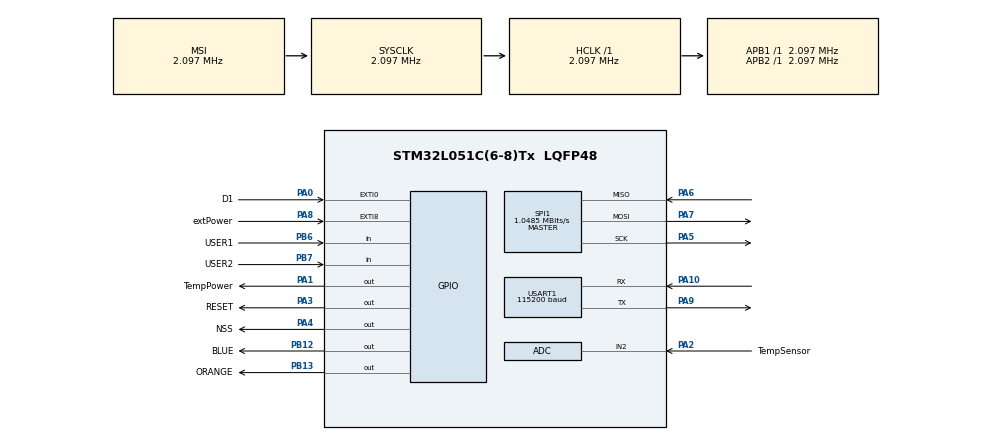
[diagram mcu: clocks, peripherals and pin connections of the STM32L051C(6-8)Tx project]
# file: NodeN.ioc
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ADC.SamplingTime=ADC_SAMPLETIME_160CYCLES_5
Dma.ADC.0.Direction=DMA_PERIPH_TO_MEMORY
Dma.ADC.0.Instance=DMA1_Channel1
Dma.ADC.0.MemDataAlignment=DMA_MDATAALIGN_HALFWORD
Dma.ADC.0.MemInc=DMA_MINC_ENABLE
Dma.ADC.0.Mode=DMA_NORMAL
Dma.ADC.0.PeriphDataAlignment=DMA_PDATAALIGN_HALFWORD
Dma.ADC.0.PeriphInc=DMA_PINC_DISABLE
Dma.ADC.0.Priority=DMA_PRIORITY_LOW
Dma.Request0=ADC
Dma.Request1=USART1_RX
Dma.USART1_RX.1.Direction=DMA_PERIPH_TO_MEMORY
Dma.USART1_RX.1.Instance=DMA1_Channel3
Dma.USART1_RX.1.MemDataAlignment=DMA_MDATAALIGN_BYTE
Dma.USART1_RX.1.MemInc=DMA_MINC_ENABLE
Dma.USART1_RX.1.Mode=DMA_CIRCULAR
Dma.USART1_RX.1.PeriphDataAlignment=DMA_PDATAALIGN_BYTE
Dma.USART1_RX.1.PeriphInc=DMA_PINC_DISABLE
Dma.USART1_RX.1.Priority=DMA_PRIORITY_LOW
LPTIM1.ClockPrescaler=LPTIM_PRESCALER_DIV128
Mcu.Family=STM32L0
Mcu.Name=STM32L051C(6-8)Tx
Mcu.Package=LQFP48
NVIC.DMA1_Channel1_IRQn=true\:0\:0\:false\:false\:true\:false\:true\:true
NVIC.DMA1_Channel2_3_IRQn=true\:0\:0\:false\:false\:true\:false\:true\:true
NVIC.EXTI0_1_IRQn=true\:1\:0\:true\:false\:true\:true\:true\:true
NVIC.EXTI4_15_IRQn=true\:1\:0\:true\:false\:true\:true\:true\:true
NVIC.LPTIM1_IRQn=true\:1\:0\:true\:false\:true\:true\:true\:true
NVIC.RTC_IRQn=true\:0\:0\:false\:false\:true\:true\:true\:true
PA0.GPIO_Label=D1
PA0.GPIO_ModeDefaultEXTI=GPIO_MODE_IT_RISING_FALLING
PA0.GPIO_PuPd=GPIO_PULLDOWN
PA0.Signal=GPXTI0
PA1.GPIO_Label=TempPower
PA1.Signal=GPIO_Output
PA10.Mode=Asynchronous
PA10.Signal=USART1_RX
PA13.Mode=Serial_Wire
PA13.Signal=SYS_SWDIO
PA14.Mode=Serial_Wire
PA14.Signal=SYS_SWCLK
PA2.GPIO_Label=TempSensor
PA2.Signal=SharedAnalog_PA2
PA3.GPIO_Label=RESET
PA3.GPIO_Speed=GPIO_SPEED_FREQ_HIGH
PA3.Signal=GPIO_Output
PA4.GPIO_Label=NSS
PA4.GPIO_Speed=GPIO_SPEED_FREQ_HIGH
PA4.Signal=GPIO_Output
PA5.Mode=Full_Duplex_Master
PA5.Signal=SPI1_SCK
PA6.Mode=Full_Duplex_Master
PA6.Signal=SPI1_MISO
PA7.Mode=Full_Duplex_Master
PA7.Signal=SPI1_MOSI
PA8.GPIO_Label=extPower
PA8.GPIO_ModeDefaultEXTI=GPIO_MODE_IT_RISING_FALLING
PA8.GPIO_PuPd=GPIO_PULLDOWN
PA8.Signal=GPXTI8
PA9.Mode=Asynchronous
PA9.Signal=USART1_TX
PB12.GPIO_Label=BLUE
PB12.PinState=GPIO_PIN_RESET
PB12.Signal=GPIO_Output
PB13.GPIO_Label=ORANGE
PB13.PinState=GPIO_PIN_RESET
PB13.Signal=GPIO_Output
PB6.GPIO_Label=USER1
PB6.GPIO_PuPd=GPIO_PULLUP
PB6.Signal=GPIO_Input
PB7.GPIO_Label=USER2
PB7.GPIO_PuPd=GPIO_PULLUP
PB7.Signal=GPIO_Input
PC14-OSC32_IN.Mode=LSE-External-Oscillator
PC14-OSC32_IN.Signal=RCC_OSC32_IN
PC15-OSC32_OUT.Mode=LSE-External-Oscillator
PC15-OSC32_OUT.Signal=RCC_OSC32_OUT
ProjectManager.HeapSize=0x200
ProjectManager.StackSize=0x400
ProjectManager.TargetToolchain=STM32CubeIDE
RCC.AHBFreq_Value=2097000
RCC.APB1Freq_Value=2097000
RCC.APB1TimFreq_Value=2097000
RCC.APB2Freq_Value=2097000
RCC.APB2TimFreq_Value=2097000
RCC.EnableCSSLSE=true
RCC.HCLKFreq_Value=2097000
RCC.HSE_VALUE=8000000
RCC.HSI16_VALUE=16000000
RCC.HSI_VALUE=16000000
RCC.LSE_Drive_Capability=RCC_LSEDRIVE_HIGH
RCC.LSE_Timout=5000
RCC.LptimClockSelection=RCC_LPTIM1CLKSOURCE_LSE
RCC.Lpuart1ClockSelection=RCC_LPUART1CLKSOURCE_LSE
RCC.MSI_VALUE=2097000
RCC.PWR_Regulator_Voltage_Scale=PWR_REGULATOR_VOLTAGE_SCALE1
RCC.RTCClockSelectionVirtual=RCC_RTCCLKSOURCE_LSE
RCC.SYSCLKFreq_VALUE=2097000
RCC.VCOOutputFreq_Value=48000000
RTC.WakeUpClock-WakeUp=RTC_WAKEUPCLOCK_CK_SPRE_16BITS
RTC.WakeUpCounter-WakeUp=60
SH.SharedAnalog_PA2.0=GPIO_Analog
SH.SharedAnalog_PA2.1=ADC_IN2,IN2
SPI1.CalculateBaudRate=1.0485 MBits/s
SPI1.Direction=SPI_DIRECTION_2LINES
SPI1.Mode=SPI_MODE_MASTER
SPI1.VirtualType=VM_MASTER
USART1.AutoBaudRateEnableParam=UART_ADVFEATURE_AUTOBAUDRATE_DISABLE
USART1.BaudRate=115200
USART1.OverSampling=UART_OVERSAMPLING_16
USART1.VirtualMode-Asynchronous=VM_ASYNC
VP_ADC_Vref_Input.Mode=IN-Vrefint
VP_LPTIM1_VS_LPTIM_counterModeInternalClock.Mode=Counts__internal_clock_event_00
VP_RTC_VS_RTC_Activate.Mode=RTC_Enabled
VP_RTC_VS_RTC_WakeUp_intern.Mode=WakeUp
VP_WWDG_VS_WWDG.Mode=WWDG_Activate
WWDG.Counter=127
WWDG.Prescaler=WWDG_PRESCALER_8
WWDG.Window=127
board=custom

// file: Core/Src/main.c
/* USER CODE BEGIN Header */
/**
 ******************************************************************************
 * @file           : main.c
 * @brief          : Main program body
 ******************************************************************************
 * @attention
 *
 * <h2><center>&copy; Copyright (c) 2019 STMicroelectronics.
 * All rights reserved.</center></h2>
 *
 * This software component is licensed by ST under BSD 3-Clause license,
 * the "License"; You may not use this file except in compliance with the
 * License. You may obtain a copy of the License at:
 *                        opensource.org/licenses/BSD-3-Clause
 *
 ******************************************************************************
 */
/* USER CODE END Header */
#include "main.h"

/* USER CODE BEGIN PTD */
#ifdef DEBUG
const char *statuses[] = { "UNINITIALISED", "SLEEP", "STANDBY", "TX", "RX" };
const char *deviceSquence[] = { "IDLE", "TX", "WFA", "DELAY" };
const char *bandWidthStrings[] = { "7.8 kHz", "10.4", "15.6", "20.8k", "31.25",
		"41.7", "62.5", "125", "250", "500" };

#endif

/* USER CODE END PTD */

ADC_HandleTypeDef hadc;
DMA_HandleTypeDef hdma_adc;

LPTIM_HandleTypeDef hlptim1;

RTC_HandleTypeDef hrtc;

SPI_HandleTypeDef hspi1;

UART_HandleTypeDef huart1;
DMA_HandleTypeDef hdma_usart1_rx;

WWDG_HandleTypeDef hwwdg;

/* USER CODE BEGIN PV */
flag_t flag = { 0, };
uint8_t lpTimWdCnt = 0;

SX127X_t myRadio = { 0, };

uint16_t recomendedDelay = 600;

float temp;

nodeStatus_t status = { 0, };
nodeSettings_t settings = { 0, };

downlinkMessage_t *rxMes = (downlinkMessage_t*) myRadio.rxBuf;

uint32_t lastTransTick = 0;
uint32_t lastTemperatureTick = 0;

uint8_t uartBuffer[UART_BUFFER_SIZE];
uint16_t uartWritePos = 0;
uint16_t uartReadPos = 0;

bool dontSleep = false;

uint32_t resendInterval = 2; //in seconds

uplinkMessage_t *txMes = (uplinkMessage_t*) myRadio.txBuf;
/* USER CODE END PV */

void SystemClock_Config(void);
static void MX_GPIO_Init(void);
static void MX_DMA_Init(void);
static void MX_RTC_Init(void);
static void MX_SPI1_Init(void);
static void MX_USART1_UART_Init(void);
static void MX_ADC_Init(void);
static void MX_LPTIM1_Init(void);
static void MX_WWDG_Init(void);

/* USER CODE BEGIN 0 */

int _write(int fd, char *ptr, int len) {
	HAL_UART_Transmit(&huart1, (uint8_t*) ptr, len, 1000L);
	return len;
}

int __io_putchar(int ch) {
	HAL_UART_Transmit(&huart1, (uint8_t*) &ch, 1, 1000);
	return ch;
}

void debugLogTime(char *string) {
	if (settings.debugLevel) {
		uint32_t time = RTC->TR;
		printf("\n");
		printf("%08lu", HAL_GetTick());
		printf(" %02x:%02x:%02x ", (uint16_t) (time >> 16) & 0xFF,
				(uint16_t) (time >> 8) & 0xFF, (uint16_t) time & 0xFF);
		printf(string);
		printf("\n");
	}
}

void debugLog(char *string) {
	if (settings.debugLevel) {
		printf(string);
		printf("\n");
	}
}

void debugLogInt(char *format, int n) {
	if (settings.debugLevel) {
		printf(format, n);
		printf("\n");
	}
}

void debugLogString(char *format, const char *string) {
	if (settings.debugLevel) {
		printf(format, string);
		printf("\n");
	}
}

/**
 * @brief Gets voltage level of MCU Vdd pin
 * Calculates MCU Vdd voltage by internal reference
 * @param None
 * @retval  Volage
 */
float getVoltage() {
	uint16_t adc[2];
	HAL_ADC_Start_DMA(&hadc, (uint32_t*) adc, 2);
	HAL_Delay(5);
	HAL_ADC_Start_DMA(&hadc, (uint32_t*) adc, 2);
	HAL_Delay(2);
	return 3.0f * (float) VREF_CAL_VALUE / (float) adc[1];
}

/**
 * @brief Gets Temperature of Node
 * Can be calculated through NTC thermistor or TI IC
 * @param None
 * @retval  Temperature in Celsius
 */
float getTemperature() {
	uint16_t adc;
	float Rt = 0;
	float tKelvin = 0;
	float tCelsius = 0;
#ifdef USE_NTC
	HAL_GPIO_WritePin(TempPower_GPIO_Port, TempPower_Pin, 1);
	HAL_ADC_Start_DMA(&hadc, (uint32_t*) &adc, 1);
	HAL_Delay(5);
	HAL_ADC_Start_DMA(&hadc, (uint32_t*) &adc, 1);
	HAL_Delay(2);
	Rt = R_BALANCE * (4096.0 / (float) adc - 1.0F);
	tKelvin = (BETA * HOME_TEMP)
			/ (BETA + (HOME_TEMP * log(Rt / R_THERMISTOR_DEFAULT)));

	tCelsius = tKelvin - 273.15;
	HAL_GPIO_WritePin(TempPower_GPIO_Port, TempPower_Pin, 0);
#endif
	return tCelsius;
}

void HAL_RTCEx_WakeUpTimerEventCallback(RTC_HandleTypeDef *hrtc) {

	flag.rtcAlarm = 1;
}

void HAL_LPTIM_AutoReloadMatchCallback(LPTIM_HandleTypeDef *hlptim) {
	if (lpTimWdCnt
			> (settings.workInterval + WATCHDOG_INTERVAL * 2)
					/ WATCHDOG_INTERVAL) {
		debugLogTime("###LP WatchDog activated! Reset MCU!");
		//SCB->AIRCR |= SCB_AIRCR_SYSRESETREQ_Msk;
		while (1)
			;
	} else {
		flag.lpTimerInterupt = 1;

	}
}
void HAL_GPIO_EXTI_Callback(uint16_t GPIO_Pin) {
	status.unhandledExti = 1;
}

/**
 * @brief Initialises radio handler structure
 * @param None
 * @retval  None
 */
void initiateSettings() {
	myRadio.sf = settings.sf;
	myRadio.bw = settings.bw;
	myRadio.cr = settings.cr;
	myRadio.syncWord = settings.sw;
	myRadio.frequency = settings.realFrequency / 61.035f;
	myRadio.power = settings.power;
	myRadio.preamble = settings.preamble;
}

/**
 * @brief Initializes default node settings
 * @param None
 * @retval None
 */
void defaultSettings() {
	settings.nodeNum = 0;
	settings.workInterval = 600;
	settings.voltageTreshold = 2.0f;
	settings.bw = SX127X_LORA_BW_125KHZ;
	settings.cr = SX127X_CR_4_8;
	settings.sf = SX127X_LORA_SF_12;
	settings.sw = 0x1;
	settings.power = SX127X_POWER_20DBM;
	settings.realFrequency = DEF_FREQUENCY;
	settings.preamble = 5;
	settings.useLed = true;
	settings.debugLevel = 0;
	initiateSettings();
}

/**
 * @brief Tries to initialize node from data stored in EEPROM
 * if data exist and valid
 * @param None
 * @retval HAL status
 */
HAL_StatusTypeDef tryEeprom() {
	nodeSettings_t *eepromSettings = (nodeSettings_t*) FLASH_EEPROM_BASE;
	if (eepromSettings->realFrequency > MIN_FREQUENCY
			&& eepromSettings->realFrequency < MAX_FREQUENCY
			&& eepromSettings->bw < 10 && eepromSettings->cr < 5
			&& eepromSettings->cr > 0 && eepromSettings->sf > 6
			&& eepromSettings->sf < 13 && eepromSettings->power > 9
			&& eepromSettings->power < 21 && eepromSettings->sw != 0x34
			&& eepromSettings->voltageTreshold >= 1.7f
			&& eepromSettings->voltageTreshold <= 3.0f
			&& eepromSettings->workInterval >= MIN_WORK_INTERVAL
			&& eepromSettings->workInterval <= MAX_WORK_INTERVAL
			&& eepromSettings->preamble > 1
			&& eepromSettings->voltageTreshold >= 1.8f
			&& eepromSettings->voltageTreshold <= 3.1f) {
		memcpy((uint8_t*) &settings, (uint8_t*) eepromSettings,
				sizeof(settings));
		initiateSettings();
		return HAL_OK;
	}
	return HAL_ERROR;
}

/**
 * @brief Saves settings from RAM to EEPROM
 * Saves settings by copying var settings to EEPROM
 * @param None
 * @retval None
 */
void saveSettings(nodeSettings_t *settingsPtr) {
	uint8_t i;
	uint32_t *ptr = (uint32_t*) settingsPtr;
	HAL_FLASHEx_DATAEEPROM_Unlock();
	for (i = 0; i < (sizeof(*settingsPtr) + 3) / 4; i++)
		HAL_FLASHEx_DATAEEPROM_Program(FLASH_TYPEPROGRAMDATA_WORD,
		FLASH_EEPROM_BASE + i * 4, *ptr++);
	HAL_FLASHEx_DATAEEPROM_Lock();
}

void setWakeup(uint16_t delay) {
	HAL_RTCEx_SetWakeUpTimer_IT(&hrtc, delay,
	RTC_WAKEUPCLOCK_CK_SPRE_16BITS);
	debugLogInt("RTC alarm in %d seconds", delay);
}
/**
 * @brief Turns Node into Sleep Mode
 * Set RTC  Wake up timer
 * Switches radio module into sleep mode
 * Switches MCU to Stop mode
 * @param None
 * @retval None
 */
void sleep() {
	if (status.unhandledExti)
		return;
    flag.sleep = 1;
	debugLog("Zzz...");
	HAL_GPIO_WritePin(BLUE_GPIO_Port, BLUE_Pin | ORANGE_Pin, LED_OFF);
	SX127X_sleep(&myRadio);
	HAL_DBGMCU_DisableDBGStopMode();
	__HAL_PWR_CLEAR_FLAG(PWR_FLAG_WU);
	HAL_PWR_EnterSTOPMode(PWR_LOWPOWERREGULATOR_ON, PWR_STOPENTRY_WFI);

}

/**
 * @Sends current status of Node to Base station
 * @param None
 * @retval None
 */
void sendStatus() {

	lpTimWdCnt = 0;
	txMes->adr = settings.nodeNum;
	txMes->uplink = 1;
	txMes->disarm = status.disarmed;
	txMes->message = MSG_UP_ACKNOWLEDGE;
	txMes->opened = status.opened || status.unconfirmedOpening;
	txMes->powered = status.powered;
	txMes->codedTemperature = getTemperature() * 2.0F + 80;
	txMes->codedVoltage = ((int) (getVoltage() * 10)) - 19;
	status.openedToConfirm = status.opened || status.unconfirmedOpening;
	status.poweredToConfirm = status.powered;
	SX127X_transmitAsync(&myRadio, sizeof(uplinkMessage_t));
	lastTransTick = HAL_GetTick();

}

/**
 * @brief Turns of user pins to decrease power consumption
 * @param None
 * @retval None
 */
void deinitGpio() {
	GPIO_InitTypeDef GPIO_InitStruct = { 0 };

	GPIO_InitStruct.Pin = USER1_Pin | USER2_Pin;
	GPIO_InitStruct.Mode = GPIO_MODE_ANALOG;
	GPIO_InitStruct.Pull = GPIO_NOPULL;
	HAL_GPIO_Init(USER1_GPIO_Port, &GPIO_InitStruct);
}

/**
 * @brief Turns Off Door Alarm pin and interrupt
 * @param None
 * @retval None
 */
void deinitAlarmInput() {
	GPIO_InitTypeDef GPIO_InitStruct = { 0 };

	GPIO_InitStruct.Pin = D1_Pin;
	GPIO_InitStruct.Mode = GPIO_MODE_ANALOG;
	GPIO_InitStruct.Pull = GPIO_NOPULL;
	HAL_GPIO_Init(D1_GPIO_Port, &GPIO_InitStruct);
}

/**
 * @brief Turns Off External Power detection pin and interrupt
 * @param None
 * @retval None
 */
void deinitPowerInput() {
	GPIO_InitTypeDef GPIO_InitStruct = { 0 };

	GPIO_InitStruct.Pin = extPower_Pin;
	GPIO_InitStruct.Mode = GPIO_MODE_ANALOG;
	GPIO_InitStruct.Pull = GPIO_NOPULL;
	HAL_GPIO_Init(extPower_GPIO_Port, &GPIO_InitStruct);
}

/**
 * @brief Turns On Door Alarm pin and interrupt
 * @param None
 * @retval None
 */
void initAlarmInput() {
	GPIO_InitTypeDef GPIO_InitStruct = { 0 };

	GPIO_InitStruct.Pin = D1_Pin;
	GPIO_InitStruct.Mode = GPIO_MODE_IT_RISING_FALLING;
	GPIO_InitStruct.Pull = GPIO_PULLDOWN;
	HAL_GPIO_Init(D1_GPIO_Port, &GPIO_InitStruct);
}

/**
 * @brief Turns On External Power detection pin and interrupt
 * @param None
 * @retval None
 */
void initPowerInput() {
	GPIO_InitTypeDef GPIO_InitStruct = { 0 };

	GPIO_InitStruct.Pin = extPower_Pin;
	GPIO_InitStruct.Mode = GPIO_MODE_IT_RISING_FALLING;
	GPIO_InitStruct.Pull = GPIO_PULLDOWN;
	HAL_GPIO_Init(extPower_GPIO_Port, &GPIO_InitStruct);
}
/**
 * @brief Configures Radio module, tries to load custom settings from EEPROM
 * if there is no valid data in EEPROM than loads default settings
 * @param None
 * @retval None
 */
void RadioInit() {
	SX127X_dio_t nss;
	SX127X_dio_t reset;

	SX127X_defaultConfig(&myRadio);
	defaultSettings();
	tryEeprom();
	nss.pin = NSS_Pin;
	nss.port = NSS_GPIO_Port;
	reset.pin = RESET_Pin;
	reset.port = RESET_GPIO_Port;
	SX127X_PortConfig(&myRadio, reset, nss, &hspi1);
	SX127X_init(&myRadio);
	SX127X_config(&myRadio);
}

void LEDhandler(SX127X_t *module) {
	static uint32_t lastBlink = 0;
	if (module->signalDetected && settings.useLed)
		HAL_GPIO_WritePin(ORANGE_GPIO_Port, ORANGE_Pin, LED_ON);
	else
		HAL_GPIO_WritePin(ORANGE_GPIO_Port, ORANGE_Pin, LED_OFF);

	if (module->status == TX && settings.useLed)
		HAL_GPIO_WritePin(BLUE_GPIO_Port, BLUE_Pin, LED_ON);
	else
		HAL_GPIO_WritePin(BLUE_GPIO_Port, BLUE_Pin, LED_OFF);

	if (HAL_GetTick() - lastBlink > 5000) {
		lastBlink = HAL_GetTick();
	}
	if (HAL_GetTick() - lastBlink < 50 && settings.useLed) {
		HAL_GPIO_WritePin(BLUE_GPIO_Port, ORANGE_Pin | BLUE_Pin, LED_ON);
	}

}

void printInfo() {
#ifdef DEBUG
	uint32_t time = RTC->TR;
	uint32_t date = RTC->DR;
	uint32_t tick = HAL_GetTick();
	printf("Status requested\n");
	printf("SysTick: %10lu\n", tick);
	printf("System time: %02x:%02x:%02x\n", (uint16_t) (time >> 16) & 0xFF,
			(uint16_t) (time >> 8) & 0xFF, (uint16_t) time & 0xFF);
	printf("System date: %x.%02x.%x\n", (uint16_t) date & 0xFF,
			(uint16_t) (date >> 8) & 0x1F,
			((uint16_t) (date >> 16) & 0xFF) + 0x2000);
	printf("Voltage: %d.%02d V\n", (int) getVoltage(),
			((int) (getVoltage() * 100) % 100));
	printf("Temp: %d.%01d C\n", (int) getTemperature(),
			((int) (getTemperature() * 10) % 10));
	printf("Powered: %s\n", status.powered ? "Yes" : "No");
	printf("Powered to confirm: %s\n", status.poweredToConfirm ? "Yes" : "No");
	printf("Disarmed: %s\n", status.disarmed ? "Yes" : "No");
	printf("Door opened: %s\n", status.opened ? "Yes" : "No");
	printf("Opened to confirm: %s\n", status.openedToConfirm ? "Yes" : "No");
	printf("Unconfirmed opening: %s\n",
			status.unconfirmedOpening ? "Yes" : "No");
	printf("Radio status: %s\n", statuses[myRadio.status]);
	printf("Displayed in : %lu ms\n", HAL_GetTick() - tick);
#endif
}

void showErrorCode(int errNum) {
	for (int i = 0; i < errNum; i++) {
		HAL_GPIO_WritePin(ORANGE_GPIO_Port, ORANGE_Pin | BLUE_Pin, 1);
		HAL_Delay(1000);
		HAL_GPIO_WritePin(ORANGE_GPIO_Port, ORANGE_Pin | BLUE_Pin, 0);
		HAL_Delay(1000);
	}
}
void startBlink() {
	for (int i = 0; i < 3; i++) {
		HAL_GPIO_WritePin(ORANGE_GPIO_Port, ORANGE_Pin | BLUE_Pin, 1);
		HAL_Delay(100);
		HAL_GPIO_WritePin(ORANGE_GPIO_Port, ORANGE_Pin | BLUE_Pin, 0);
		HAL_Delay(100);
	}
	HAL_Delay(500);
}

void showNumber() {

	for (int i = 0; i < settings.nodeNum / 10; i++) {
		HAL_GPIO_WritePin(ORANGE_GPIO_Port, ORANGE_Pin, 1);
		HAL_Delay(1000);
		HAL_GPIO_WritePin(ORANGE_GPIO_Port, ORANGE_Pin, 0);
		HAL_Delay(1000);
	}
	for (int i = 0; i < settings.nodeNum % 10; i++) {
		HAL_GPIO_WritePin(BLUE_GPIO_Port, BLUE_Pin, 1);
		HAL_Delay(800);
		HAL_GPIO_WritePin(BLUE_GPIO_Port, BLUE_Pin, 0);
		HAL_Delay(800);
	}

}

void HAL_Delay(uint32_t Delay) {
	uint32_t tickstart = HAL_GetTick();
	uint32_t wait = Delay;

	/* Add a freq to guarantee minimum wait */
	if (wait < HAL_MAX_DELAY) {
		wait += (uint32_t) (uwTickFreq);
	}

	while ((HAL_GetTick() - tickstart) < wait) {
		HAL_WWDG_Refresh(&hwwdg);
	}
}

void changeSequence(nodeSequence_t s) {
	status.sequence = s;
	debugLogString("->%s", deviceSquence[status.sequence]);
	status.sequenceStartTick = HAL_GetTick();
	status.timeOnSequence = 0;

}

void increaceInterval() {
	resendInterval += INTERVAL_STEP;
	resendInterval = min(resendInterval, settings.workInterval);
}

void sleepHandler(char *message) {
	if (status.sequence != wfa)
		if (status.sequence != tx)
			if (!status.powered)
				if (!flag.needToSend)
					if (!dontSleep)
						if (status.openedConfirmed == status.opened)
							if (status.poweredConfirmed == status.powered)
								if (status.unconfirmedOpening == false)
									if (!flag.lpTimerInterupt)
										if (!status.unhandledExti) {
											if (message[0])
												debugLog(message);
											sleep();
										}
}

void extiHandler() {
	if (status.opened != HAL_GPIO_ReadPin(D1_GPIO_Port, D1_Pin)) {
		if (HAL_GPIO_ReadPin(D1_GPIO_Port, D1_Pin))
			debugLog("Door opened");
		else

			debugLog("Door closed");
		HAL_Delay(50); //debouncing
	}
	if (status.powered != HAL_GPIO_ReadPin(extPower_GPIO_Port, extPower_Pin)) {
		if (HAL_GPIO_ReadPin(extPower_GPIO_Port, extPower_Pin))
			debugLog("Power given");
		else
			debugLog("Power lost");
		HAL_Delay(50); //debouncing
	}

	if (!status.disarmed) {
		if (status.opened != status.openedConfirmed
				|| status.powered != status.poweredConfirmed)
			flag.needToSend = 1;
	}
	if (status.openedConfirmed == 0 && status.opened)
		status.unconfirmedOpening = 1;
	status.opened = HAL_GPIO_ReadPin(D1_GPIO_Port, D1_Pin);
	status.powered = HAL_GPIO_ReadPin(extPower_GPIO_Port, extPower_Pin);
	status.unhandledExti = 0;

}

void messageHandler() {
	if (myRadio.readBytes > 0) {
		debugLogTime("Got message");
		if (myRadio.badCrc == 1) {
			debugLog("Bad CRC!");
			myRadio.readBytes = 0;
		} else if (rxMes->uplink == 0 && rxMes->adr == settings.nodeNum) {
			debugLog("for us");
			if (status.disarmed != rxMes->disarm)
				debugLogString("Disarmed changed to %s",
						rxMes->disarm ? "Yes" : "No");

			status.disarmed = rxMes->disarm;
			if (rxMes->codedDelayMSB || rxMes->codedDelayLSB) {

				recomendedDelay = rxMes->codedDelayLSB
						+ (rxMes->codedDelayMSB << 8);
				if (recomendedDelay > 2 * settings.workInterval) {
					debugLogInt(
							"###Delay is too big (%u), returning to 2x work Interval",
							recomendedDelay);
					recomendedDelay = 2 * settings.workInterval;
				} else
					debugLogInt("Delay: %u", recomendedDelay);
			} else {
				debugLog("Delay not set");
				recomendedDelay = settings.workInterval;
			}

			if (rxMes->message == MSG_DOWN_REQUEST) //Request current status
			{
				debugLog("Status requested");
				flag.needToSend = 1;
			}

			else if (rxMes->message == MSG_DOWN_ACKNOWLEDGE) {
				debugLog("Got acknowledge");

				if (status.openedToConfirm == 1)
					status.unconfirmedOpening = 0;
				status.openedConfirmed = status.openedToConfirm;
				status.poweredConfirmed = status.poweredToConfirm;
				resendInterval = 2;
				flag.needToSend = 0;
				changeSequence(idle);
			}
			setWakeup(recomendedDelay);
		} else {

			if (rxMes->uplink == 0) {
				debugLogInt("It's for %d", rxMes->adr);
				debugLogInt("Delay for it: %d",
						rxMes->codedDelayLSB + (rxMes->codedDelayMSB << 8));
			} else {
				debugLogInt("It's from %d", rxMes->adr);
			}
		}
		myRadio.readBytes = 0;
	}
}
/* USER CODE END 0 */

int main(void) {

	/* MCU Configuration--------------------------------------------------------*/

	/* Reset of all peripherals, Initializes the Flash interface and the Systick. */
	HAL_Init();

	/* Configure the system clock */
	SystemClock_Config();

	/* Initialize all configured peripherals */
	MX_GPIO_Init();
	MX_DMA_Init();
	MX_RTC_Init();
	MX_SPI1_Init();
	MX_USART1_UART_Init();
	MX_ADC_Init();
	MX_LPTIM1_Init();
	MX_WWDG_Init();
	/* USER CODE BEGIN 2 */
#ifdef DEBUG
	settings.debugLevel = 1;
#endif
	initUart(&huart1, &myRadio);
	if ((RCC->CSR & RCC_CSR_LSERDY_Msk) != 0) 	//Crystal failure
		HAL_LPTIM_Counter_Start_IT(&hlptim1, 256 * WATCHDOG_INTERVAL);
	printf("<ANv%lx>\n", SOFTWARE_REVISION);
	DBGMCU->APB1FZ |= DBGMCU_APB1_FZ_DBG_IWDG_STOP_Msk
			| DBGMCU_APB1_FZ_DBG_WWDG_STOP_Msk;

	HAL_ADCEx_Calibration_Start(&hadc, ADC_SINGLE_ENDED);

	RadioInit();

	recomendedDelay = settings.workInterval;

	flag.needToSend = 1;
	status.poweredConfirmed = HAL_GPIO_ReadPin(extPower_GPIO_Port,
	extPower_Pin);
	status.openedConfirmed = HAL_GPIO_ReadPin(D1_GPIO_Port, D1_Pin);
	HAL_DBGMCU_DisableDBGStopMode();
	/* USER CODE END 2 */

	/* Infinite loop */
	/* USER CODE BEGIN WHILE */

	// PIN MAP: 0-1
	//Receiving test
	if (HAL_GPIO_ReadPin(USER2_GPIO_Port, USER2_Pin) == USER2_ACTIVE
			&& HAL_GPIO_ReadPin(USER1_GPIO_Port, USER1_Pin) != USER1_ACTIVE) {
		debugLog("Receiving test activated");
		ReceivingTest();
	}
	//PIN MAP 1-0
	//Ping Test
	if (HAL_GPIO_ReadPin(USER2_GPIO_Port, USER2_Pin) != USER1_ACTIVE
			&& HAL_GPIO_ReadPin(USER1_GPIO_Port, USER1_Pin) == USER1_ACTIVE) {
		debugLog("Ping test activated");
		PingTest();

	}

	//PIN MAP 1-1 - Don't sleep
	if (HAL_GPIO_ReadPin(USER2_GPIO_Port, USER2_Pin) == USER2_ACTIVE
			&& HAL_GPIO_ReadPin(USER1_GPIO_Port, USER1_Pin) == USER1_ACTIVE) {
		debugLog("Non sleep mode enabled");
		dontSleep = true;
	}

	debugLog("Power on, test starting");

	if (myRadio.revision == 0) {	//No Radio connection
		debugLog("LoRa module: ERROR!");
		showErrorCode(2);
		while (1)
			;
	}
	debugLogInt("LoRa module: OK, rev: %d", myRadio.revision);

	if ((RCC->CSR & RCC_CSR_LSERDY_Msk) == 0) {	//Crystal failure
		debugLog("LSE Crystal: fail!");
		showErrorCode(3);
		while (1)
			;
	}
	debugLog("LSE Crystal: OK");
	startBlink();
	//showNumber();

	deinitGpio();
	flag.needToSend = 1;
	debugLogInt("Node number: %d ", settings.nodeNum);
	debugLogInt("Frequency: %lu kHz", settings.realFrequency / 1000);
	debugLogInt("Spreading factor: %d", settings.sf);
	debugLogString("BandWidth: %s kHz", bandWidthStrings[settings.bw]);

	while (1) {
		HAL_WWDG_Refresh(&hwwdg);

		temp = getTemperature();

		status.timeOnSequence = HAL_GetTick() - status.sequenceStartTick;

		if (flag.rtcAlarm) {
			flag.rtcAlarm = 0;

			debugLog("RTC Alarm int");
			flag.needToSend = 1;
		}

		if (flag.lpTimerInterupt) {
			flag.lpTimerInterupt = 0;

			debugLogInt("LP counter: %d min", lpTimWdCnt++);

		}

		if (flag.statusRequested) {
			flag.statusRequested = 0;

			printInfo();
		}

		if (flag.saveSettings) {
			flag.saveSettings = 0;

			debugLogTime("Saving settings to EEPROM");
			initiateSettings(&settings);
			saveSettings(&settings);
		}

		if (flag.readConfig) {
			flag.readConfig = 0;

			sendConfig();
		}

		if (flag.uartReset)
		{
			flag.uartReset = 0;

			debugLog("UART reinitialized");

		}

		if (flag.sleep)
		{
			flag.sleep = 0;

			debugLog("Woken up sequence");

            uartReinit();
		}

		uartHandler();

		SX127X_Handler(&myRadio);

		LEDhandler(&myRadio);

		sleepHandler("Sleep from main cycle");

		extiHandler();

		messageHandler();

		/// Main sequencer

		if (status.sequence == idle && flag.needToSend) {
			flag.needToSend = 0;
			changeSequence(tx);
			sendStatus();
		}

		if (status.sequence == tx && status.timeOnSequence > 30
				&& myRadio.status != TX)
			changeSequence(wfa);

		if (status.sequence == wfa && status.timeOnSequence > ACK_WAIT_TIME) {

			changeSequence(delay);
		}

		if (status.sequence == delay && !status.powered) {
			debugLogInt("Delay sleep for %d s", resendInterval);
			setWakeup(resendInterval);
			sleep();
			debugLog("Time to send again");
			increaceInterval();
			changeSequence(idle);
		}

		if (status.sequence == delay && status.powered
				&& (status.timeOnSequence > (resendInterval * 1000))) {
			debugLog("Time to send again");
			increaceInterval();
			changeSequence(idle);
		}

		/// Message handler

		/* USER CODE END WHILE */

	}
}

void SystemClock_Config(void) {
	RCC_OscInitTypeDef RCC_OscInitStruct = { 0 };
	RCC_ClkInitTypeDef RCC_ClkInitStruct = { 0 };
	RCC_PeriphCLKInitTypeDef PeriphClkInit = { 0 };

	/** Configure the main internal regulator output voltage
	 */
	__HAL_PWR_VOLTAGESCALING_CONFIG(PWR_REGULATOR_VOLTAGE_SCALE1);
	/** Configure LSE Drive Capability
	 */
	HAL_PWR_EnableBkUpAccess();
	__HAL_RCC_LSEDRIVE_CONFIG(RCC_LSEDRIVE_HIGH);
	/** Initializes the RCC Oscillators according to the specified parameters
	 * in the RCC_OscInitTypeDef structure.
	 */
	RCC_OscInitStruct.OscillatorType = RCC_OSCILLATORTYPE_LSE
			| RCC_OSCILLATORTYPE_MSI;
	RCC_OscInitStruct.LSEState = RCC_LSE_ON;
	RCC_OscInitStruct.MSIState = RCC_MSI_ON;
	RCC_OscInitStruct.MSICalibrationValue = 0;
	RCC_OscInitStruct.MSIClockRange = RCC_MSIRANGE_5;
	RCC_OscInitStruct.PLL.PLLState = RCC_PLL_NONE;
	if (HAL_RCC_OscConfig(&RCC_OscInitStruct) != HAL_OK) {
		Error_Handler();
	}
	/** Initializes the CPU, AHB and APB buses clocks
	 */
	RCC_ClkInitStruct.ClockType = RCC_CLOCKTYPE_HCLK | RCC_CLOCKTYPE_SYSCLK
			| RCC_CLOCKTYPE_PCLK1 | RCC_CLOCKTYPE_PCLK2;
	RCC_ClkInitStruct.SYSCLKSource = RCC_SYSCLKSOURCE_MSI;
	RCC_ClkInitStruct.AHBCLKDivider = RCC_SYSCLK_DIV1;
	RCC_ClkInitStruct.APB1CLKDivider = RCC_HCLK_DIV1;
	RCC_ClkInitStruct.APB2CLKDivider = RCC_HCLK_DIV1;

	if (HAL_RCC_ClockConfig(&RCC_ClkInitStruct, FLASH_LATENCY_0) != HAL_OK) {
		Error_Handler();
	}
	PeriphClkInit.PeriphClockSelection = RCC_PERIPHCLK_USART1
			| RCC_PERIPHCLK_RTC | RCC_PERIPHCLK_LPTIM1;
	PeriphClkInit.Usart1ClockSelection = RCC_USART1CLKSOURCE_PCLK2;
	PeriphClkInit.RTCClockSelection = RCC_RTCCLKSOURCE_LSE;
	PeriphClkInit.LptimClockSelection = RCC_LPTIM1CLKSOURCE_LSE;

	if (HAL_RCCEx_PeriphCLKConfig(&PeriphClkInit) != HAL_OK) {
		Error_Handler();
	}
	/** Enables the Clock Security System
	 */
	HAL_RCCEx_EnableLSECSS();
}

static void MX_ADC_Init(void) {

	ADC_ChannelConfTypeDef sConfig = { 0 };

	/** Configure the global features of the ADC (Clock, Resolution, Data Alignment and number of conversion)
	 */
	hadc.Instance = ADC1;
	hadc.Init.OversamplingMode = DISABLE;
	hadc.Init.ClockPrescaler = ADC_CLOCK_SYNC_PCLK_DIV1;
	hadc.Init.Resolution = ADC_RESOLUTION_12B;
	hadc.Init.SamplingTime = ADC_SAMPLETIME_160CYCLES_5;
	hadc.Init.ScanConvMode = ADC_SCAN_DIRECTION_FORWARD;
	hadc.Init.DataAlign = ADC_DATAALIGN_RIGHT;
	hadc.Init.ContinuousConvMode = DISABLE;
	hadc.Init.DiscontinuousConvMode = DISABLE;
	hadc.Init.ExternalTrigConvEdge = ADC_EXTERNALTRIGCONVEDGE_NONE;
	hadc.Init.ExternalTrigConv = ADC_SOFTWARE_START;
	hadc.Init.DMAContinuousRequests = DISABLE;
	hadc.Init.EOCSelection = ADC_EOC_SINGLE_CONV;
	hadc.Init.Overrun = ADC_OVR_DATA_PRESERVED;
	hadc.Init.LowPowerAutoWait = DISABLE;
	hadc.Init.LowPowerFrequencyMode = ENABLE;
	hadc.Init.LowPowerAutoPowerOff = DISABLE;
	if (HAL_ADC_Init(&hadc) != HAL_OK) {
		Error_Handler();
	}
	/** Configure for the selected ADC regular channel to be converted.
	 */
	sConfig.Channel = ADC_CHANNEL_2;
	sConfig.Rank = ADC_RANK_CHANNEL_NUMBER;
	if (HAL_ADC_ConfigChannel(&hadc, &sConfig) != HAL_OK) {
		Error_Handler();
	}
	/** Configure for the selected ADC regular channel to be converted.
	 */
	sConfig.Channel = ADC_CHANNEL_VREFINT;
	if (HAL_ADC_ConfigChannel(&hadc, &sConfig) != HAL_OK) {
		Error_Handler();
	}

}

static void MX_LPTIM1_Init(void) {

	hlptim1.Instance = LPTIM1;
	hlptim1.Init.Clock.Source = LPTIM_CLOCKSOURCE_APBCLOCK_LPOSC;
	hlptim1.Init.Clock.Prescaler = LPTIM_PRESCALER_DIV128;
	hlptim1.Init.Trigger.Source = LPTIM_TRIGSOURCE_SOFTWARE;
	hlptim1.Init.OutputPolarity = LPTIM_OUTPUTPOLARITY_HIGH;
	hlptim1.Init.UpdateMode = LPTIM_UPDATE_IMMEDIATE;
	hlptim1.Init.CounterSource = LPTIM_COUNTERSOURCE_INTERNAL;
	if (HAL_LPTIM_Init(&hlptim1) != HAL_OK) {
		Error_Handler();
	}

}

static void MX_RTC_Init(void) {

	/** Initialize RTC Only
	 */
	hrtc.Instance = RTC;
	hrtc.Init.HourFormat = RTC_HOURFORMAT_24;
	hrtc.Init.AsynchPrediv = 127;
	hrtc.Init.SynchPrediv = 255;
	hrtc.Init.OutPut = RTC_OUTPUT_DISABLE;
	hrtc.Init.OutPutRemap = RTC_OUTPUT_REMAP_NONE;
	hrtc.Init.OutPutPolarity = RTC_OUTPUT_POLARITY_HIGH;
	hrtc.Init.OutPutType = RTC_OUTPUT_TYPE_OPENDRAIN;
	if (HAL_RTC_Init(&hrtc) != HAL_OK) {
		Error_Handler();
	}
	/** Enable the WakeUp
	 */
	if (HAL_RTCEx_SetWakeUpTimer_IT(&hrtc, 60,
	RTC_WAKEUPCLOCK_CK_SPRE_16BITS) != HAL_OK) {
		Error_Handler();
	}

}

static void MX_SPI1_Init(void) {

	/* SPI1 parameter configuration*/
	hspi1.Instance = SPI1;
	hspi1.Init.Mode = SPI_MODE_MASTER;
	hspi1.Init.Direction = SPI_DIRECTION_2LINES;
	hspi1.Init.DataSize = SPI_DATASIZE_8BIT;
	hspi1.Init.CLKPolarity = SPI_POLARITY_LOW;
	hspi1.Init.CLKPhase = SPI_PHASE_1EDGE;
	hspi1.Init.NSS = SPI_NSS_SOFT;
	hspi1.Init.BaudRatePrescaler = SPI_BAUDRATEPRESCALER_2;
	hspi1.Init.FirstBit = SPI_FIRSTBIT_MSB;
	hspi1.Init.TIMode = SPI_TIMODE_DISABLE;
	hspi1.Init.CRCCalculation = SPI_CRCCALCULATION_DISABLE;
	hspi1.Init.CRCPolynomial = 7;
	if (HAL_SPI_Init(&hspi1) != HAL_OK) {
		Error_Handler();
	}

}

static void MX_USART1_UART_Init(void) {

	huart1.Instance = USART1;
	huart1.Init.BaudRate = 115200;
	huart1.Init.WordLength = UART_WORDLENGTH_8B;
	huart1.Init.StopBits = UART_STOPBITS_1;
	huart1.Init.Parity = UART_PARITY_NONE;
	huart1.Init.Mode = UART_MODE_TX_RX;
	huart1.Init.HwFlowCtl = UART_HWCONTROL_NONE;
	huart1.Init.OverSampling = UART_OVERSAMPLING_16;
	huart1.Init.OneBitSampling = UART_ONE_BIT_SAMPLE_DISABLE;
	huart1.AdvancedInit.AdvFeatureInit = UART_ADVFEATURE_NO_INIT;
	if (HAL_UART_Init(&huart1) != HAL_OK) {
		Error_Handler();
	}

}

static void MX_WWDG_Init(void) {

	hwwdg.Instance = WWDG;
	hwwdg.Init.Prescaler = WWDG_PRESCALER_8;
	hwwdg.Init.Window = 127;
	hwwdg.Init.Counter = 127;
	hwwdg.Init.EWIMode = WWDG_EWI_DISABLE;
	if (HAL_WWDG_Init(&hwwdg) != HAL_OK) {
		Error_Handler();
	}

}

static void MX_DMA_Init(void) {

	/* DMA controller clock enable */
	__HAL_RCC_DMA1_CLK_ENABLE();

	/* DMA interrupt init */
	/* DMA1_Channel1_IRQn interrupt configuration */
	HAL_NVIC_SetPriority(DMA1_Channel1_IRQn, 0, 0);
	HAL_NVIC_EnableIRQ(DMA1_Channel1_IRQn);
	/* DMA1_Channel2_3_IRQn interrupt configuration */
	HAL_NVIC_SetPriority(DMA1_Channel2_3_IRQn, 0, 0);
	HAL_NVIC_EnableIRQ(DMA1_Channel2_3_IRQn);

}

static void MX_GPIO_Init(void) {
	GPIO_InitTypeDef GPIO_InitStruct = { 0 };

	/* GPIO Ports Clock Enable */
	__HAL_RCC_GPIOC_CLK_ENABLE();
	__HAL_RCC_GPIOH_CLK_ENABLE();
	__HAL_RCC_GPIOA_CLK_ENABLE();
	__HAL_RCC_GPIOB_CLK_ENABLE();

	/*Configure GPIO pin Output Level */
	HAL_GPIO_WritePin(GPIOA, TempPower_Pin | RESET_Pin | NSS_Pin,
			GPIO_PIN_RESET);

	/*Configure GPIO pin Output Level */
	HAL_GPIO_WritePin(GPIOB, BLUE_Pin | ORANGE_Pin, GPIO_PIN_RESET);

	/*Configure GPIO pin : PC13 */
	GPIO_InitStruct.Pin = GPIO_PIN_13;
	GPIO_InitStruct.Mode = GPIO_MODE_ANALOG;
	GPIO_InitStruct.Pull = GPIO_NOPULL;
	HAL_GPIO_Init(GPIOC, &GPIO_InitStruct);

	/*Configure GPIO pins : PH0 PH1 */
	GPIO_InitStruct.Pin = GPIO_PIN_0 | GPIO_PIN_1;
	GPIO_InitStruct.Mode = GPIO_MODE_ANALOG;
	GPIO_InitStruct.Pull = GPIO_NOPULL;
	HAL_GPIO_Init(GPIOH, &GPIO_InitStruct);

	/*Configure GPIO pins : D1_Pin extPower_Pin */
	GPIO_InitStruct.Pin = D1_Pin | extPower_Pin;
	GPIO_InitStruct.Mode = GPIO_MODE_IT_RISING_FALLING;
	GPIO_InitStruct.Pull = GPIO_PULLDOWN;
	HAL_GPIO_Init(GPIOA, &GPIO_InitStruct);

	/*Configure GPIO pin : TempPower_Pin */
	GPIO_InitStruct.Pin = TempPower_Pin;
	GPIO_InitStruct.Mode = GPIO_MODE_OUTPUT_PP;
	GPIO_InitStruct.Pull = GPIO_NOPULL;
	GPIO_InitStruct.Speed = GPIO_SPEED_FREQ_LOW;
	HAL_GPIO_Init(TempPower_GPIO_Port, &GPIO_InitStruct);

	/*Configure GPIO pins : RESET_Pin NSS_Pin */
	GPIO_InitStruct.Pin = RESET_Pin | NSS_Pin;
	GPIO_InitStruct.Mode = GPIO_MODE_OUTPUT_PP;
	GPIO_InitStruct.Pull = GPIO_NOPULL;
	GPIO_InitStruct.Speed = GPIO_SPEED_FREQ_HIGH;
	HAL_GPIO_Init(GPIOA, &GPIO_InitStruct);

	/*Configure GPIO pins : PB0 PB1 PB2 PB10
	 PB11 PB14 PB15 PB3
	 PB4 PB5 PB8 PB9 */
	GPIO_InitStruct.Pin = GPIO_PIN_0 | GPIO_PIN_1 | GPIO_PIN_2 | GPIO_PIN_10
			| GPIO_PIN_11 | GPIO_PIN_14 | GPIO_PIN_15 | GPIO_PIN_3 | GPIO_PIN_4
			| GPIO_PIN_5 | GPIO_PIN_8 | GPIO_PIN_9;
	GPIO_InitStruct.Mode = GPIO_MODE_ANALOG;
	GPIO_InitStruct.Pull = GPIO_NOPULL;
	HAL_GPIO_Init(GPIOB, &GPIO_InitStruct);

	/*Configure GPIO pins : BLUE_Pin ORANGE_Pin */
	GPIO_InitStruct.Pin = BLUE_Pin | ORANGE_Pin;
	GPIO_InitStruct.Mode = GPIO_MODE_OUTPUT_PP;
	GPIO_InitStruct.Pull = GPIO_NOPULL;
	GPIO_InitStruct.Speed = GPIO_SPEED_FREQ_LOW;
	HAL_GPIO_Init(GPIOB, &GPIO_InitStruct);

	/*Configure GPIO pins : PA11 PA12 PA15 */
	GPIO_InitStruct.Pin = GPIO_PIN_11 | GPIO_PIN_12 | GPIO_PIN_15;
	GPIO_InitStruct.Mode = GPIO_MODE_ANALOG;
	GPIO_InitStruct.Pull = GPIO_NOPULL;
	HAL_GPIO_Init(GPIOA, &GPIO_InitStruct);

	/*Configure GPIO pins : USER1_Pin USER2_Pin */
	GPIO_InitStruct.Pin = USER1_Pin | USER2_Pin;
	GPIO_InitStruct.Mode = GPIO_MODE_INPUT;
	GPIO_InitStruct.Pull = GPIO_PULLUP;
	HAL_GPIO_Init(GPIOB, &GPIO_InitStruct);

	/* EXTI interrupt init*/
	HAL_NVIC_SetPriority(EXTI0_1_IRQn, 1, 0);
	HAL_NVIC_EnableIRQ(EXTI0_1_IRQn);

	HAL_NVIC_SetPriority(EXTI4_15_IRQn, 1, 0);
	HAL_NVIC_EnableIRQ(EXTI4_15_IRQn);

}

void Error_Handler(void) {
	/* USER CODE BEGIN Error_Handler_Debug */
	/* User can add his own implementation to report the HAL error return state */
	debugLog("Error!");
	/* USER CODE END Error_Handler_Debug */
}
